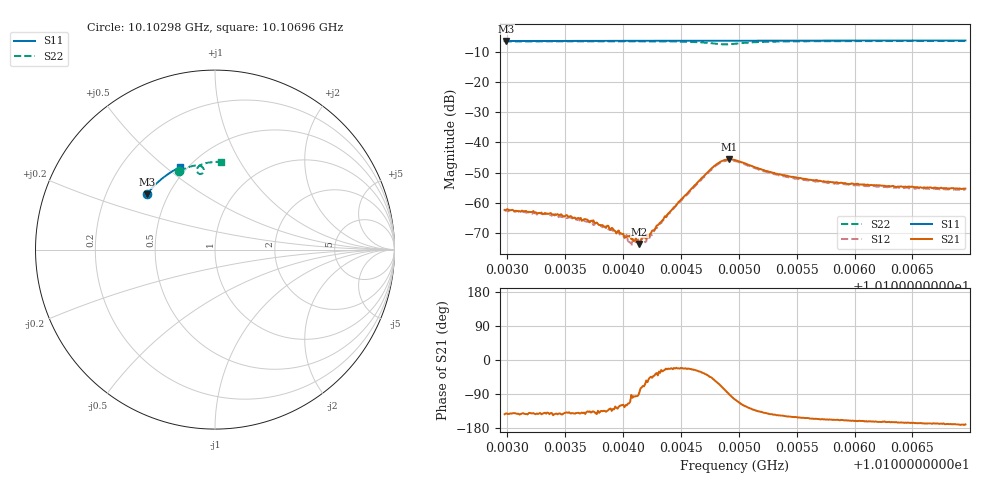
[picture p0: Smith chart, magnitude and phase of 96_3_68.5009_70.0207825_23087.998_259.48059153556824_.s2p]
#  HZ  S  RI  R  50.00
! Rohde & Schwarz Vector Network Analyzer
! Rohde-Schwarz,ZNB20-2Port,1311601062101988,3.16
! Created: UTC 3/20/2024, 4:52:52 PM
! freq[Hz]  re:S11  im:S11  re:S21  im:S21  re:S12  im:S12  re:S22  im:S22
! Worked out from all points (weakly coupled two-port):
!   401 points, 10.10298 GHz to 10.10696 GHz, reference 50 ohm
!   highest |S21| = -45.64 dB at 10.10492 GHz (marker M1); lowest = -73.8 dB at 10.10414 GHz (marker M2)
!   lowest |S11| = -6.2 dB at 10.10299 GHz (marker M3), VSWR 2.91, Z = 19.1 + j15.5 ohm
!   |S11| at or under -10 dB: nowhere
!   |S22| runs from -7.4 to -6.2 dB; largest |S21 - S12| = 0.00051
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1.0102976e10  -0.3786 0.3084  -0.000605 -0.000453  -0.000525 -0.000506  -0.1995 0.4373
1.0102986e10  -0.3782 0.3088  -0.000583 -0.000468  -0.000531 -0.000511  -0.199 0.4377
1.0103314e10  -0.366 0.3247  -0.000499 -0.000414  -0.000484 -0.000431  -0.179 0.4469
1.0103454e10  -0.3604 0.3313  -0.000488 -0.000394  -0.000426 -0.000423  -0.1701 0.4508
1.0103643e10  -0.353 0.34  -0.000373 -0.000329  -0.000358 -0.000352  -0.158 0.4557
1.0103752e10  -0.3487 0.345  -0.000341 -0.000315  -0.000302 -0.000304  -0.1508 0.4583
1.0103941e10  -0.3408 0.3534  -0.000179 -0.000248  -0.000159 -0.000278  -0.1376 0.4624
1.0103981e10  -0.3392 0.3552  -0.000153 -0.000266  -0.000159 -0.000262  -0.1347 0.4632
1.0104011e10  -0.338 0.3566  -0.00015 -0.000217  -7.08e-05 -0.000246  -0.1326 0.4639
1.0104061e10  -0.3358 0.3588  -9.95e-05 -0.000266  -6.67e-05 -0.000208  -0.129 0.4647
1.0104141e10  -0.3325 0.3621  1.69e-05 -0.000204  3.61e-05 -0.000198  -0.1228 0.4663
1.010421e10  -0.3292 0.3652  0.000154 -0.000251  0.000158 -0.000231  -0.1172 0.4674
1.010431e10  -0.3251 0.3693  0.00038 -0.000225  0.000373 -0.000177  -0.1088 0.4685
1.0104469e10  -0.3179 0.3759  0.000884 -0.000363  0.000889 -0.000246  -0.0934 0.4687
1.0104768e10  -0.3042 0.3879  0.00255 -0.00277  0.00264 -0.00245  -0.0618 0.4423
1.0104848e10  -0.3006 0.3909  0.00173 -0.00454  0.00203 -0.0042  -0.0696 0.4253
1.0104917e10  -0.2975 0.3934  -7.57e-05 -0.00522  0.000361 -0.00505  -0.087 0.422
1.0104967e10  -0.2953 0.3954  -0.00126 -0.00495  -0.000787 -0.00483  -0.0965 0.4286
1.0105296e10  -0.2798 0.4078  -0.00253 -0.00183  -0.00226 -0.002  -0.0836 0.4695
1.0105634e10  -0.2631 0.4198  -0.00214 -0.00102  -0.00198 -0.00115  -0.0559 0.4806
1.0106301e10  -0.2288 0.4414  -0.00181 -0.000545  -0.00169 -0.000681  -0.00883 0.4878
1.0106958e10  -0.1934 0.4595  -0.00168 -0.000293  -0.00158 -0.000422  0.035 0.4889
